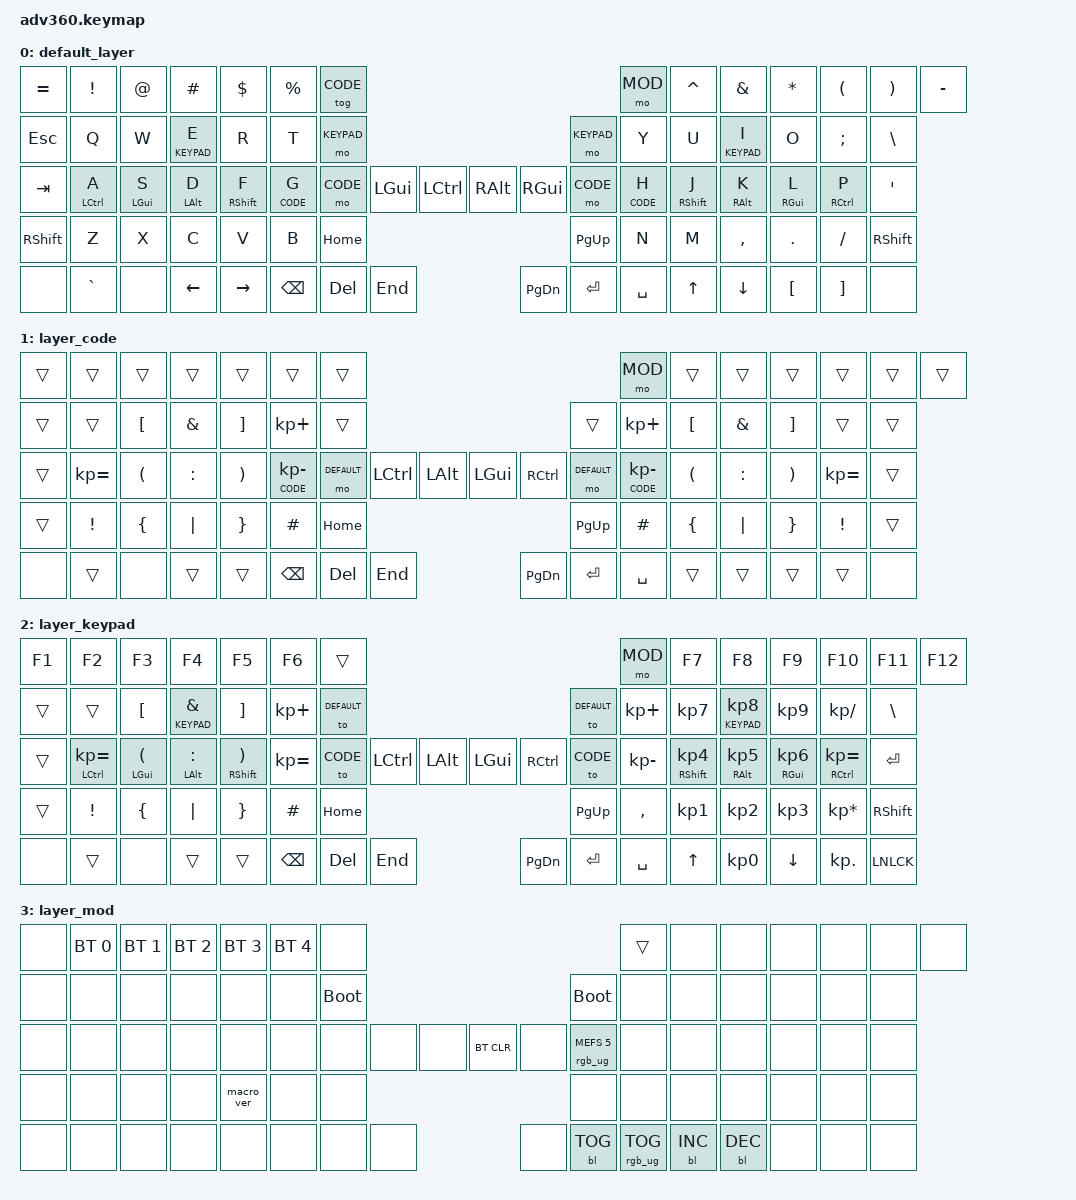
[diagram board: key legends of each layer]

/*
 * Copyright (c) 2020 The ZMK Contributors
 *
 * SPDX-License-Identifier: MIT
 */


/* THIS FILE WAS GENERATED!
 *
 * This file was generated automatically. You may or may not want to
 * edit it directly.
 */

#include <behaviors.dtsi>
#include <dt-bindings/zmk/keys.h>
#include <dt-bindings/zmk/bt.h>
#include <dt-bindings/zmk/rgb.h>
#include <dt-bindings/zmk/backlight.h>

    
#define DEFAULT 0
#define CODE 1
#define KEYPAD 2
#define MOD 3
        
/ {
    behaviors {
        #include "macros.dtsi"
        #include "version.dtsi"

        hm_l: homerow_left_mods {
          compatible = "zmk,behavior-hold-tap";
          label = "HOMEROW_MODS";
          #binding-cells = <2>;
          tapping-term-ms = <200>;
          flavor = "tap-preferred";
          bindings = <&kp>, <&kp>;
        };

        hm_r: homerow_right_mods {
          compatible = "zmk,behavior-hold-tap";
          label = "HOMEROW_MODS";
          #binding-cells = <2>;
          tapping-term-ms = <200>;
          flavor = "tap-preferred";
          bindings = <&kp>, <&kp>;
        };

        lt_kp: layer_kp {
          compatible = "zmk,behavior-hold-tap";
          label = "LAYERTAP";
          #binding-cells = <2>;
          tapping-term-ms = <200>;
          flavor = "tap-preferred";
          bindings = <&tog>, <&kp>;
        };

        lt_tog: layer_tog {
          compatible = "zmk,behavior-hold-tap";
          label = "LAYERTAP-tog";
          #binding-cells = <2>;
          tapping-term-ms = <250>;
          flavor = "tap-preferred";
          bindings = <&tog>, <&tog>;
        };
    };


    // Home row mods
    #define _A_CTL &hm_l LCTRL A  // Shift on pinkey fingers
    #define _P_CTL &hm_r RCTRL  P
    #define _S_CMD &hm_l LGUI S   // Command on ring fingers
    #define _L_CMD &hm_r RGUI L
    #define _D_OPT &hm_l LALT D   // Option on middle finger
    #define _K_OPT &hm_r RALT K
    #define _F_SFT &hm_l RSHFT F  // Control on index finger
    #define _J_SFT &hm_r RSHFT J

    #define _LBKT_CTL &hm_l LCTRL LBKT  // Shift on pinkey fingers
    #define _RIGHT_CTL &hm_r RCTRL RIGHT
    #define _RBKT_CMD &hm_l LGUI RBKT   // Command on ring fingers
    #define _DOWN_CMD &hm_r RGUI DOWN
    #define _LBRC_OPT &hm_l LALT LBRC   // Option on middle finger
    #define _UP_OPT &hm_r RALT UP
    #define _RBRC_SFT &hm_l LSHFT RBRC  // Control on index finger
    #define _LEFT_SFT &hm_r RSHFT LEFT

    // Keypad layer home row mods
    #define _KPEQ_CTL_L &hm_l LCTRL KP_EQUAL
    #define _LPAR_CMD &hm_l LGUI LPAR
    #define _COLON_OPT &hm_l LALT COLON
    #define _RPAR_SFT &hm_l RSHFT RPAR
    #define _KPN4_SFT &hm_r RSHFT KP_N4
    #define _KPN5_OPT &hm_r RALT KP_N5
    #define _KPN6_CMD &hm_r RGUI KP_N6
    #define _KPEQ_CTL_R &hm_r RCTRL KP_EQUAL

    #define _G_LAYER_1 &lt_kp CODE G
    #define _H_LAYER_1 &lt_kp CODE H

    #define _E_LAYER_2 &lt_kp KEYPAD E
    #define _I_LAYER_2 &lt_kp KEYPAD I

    #define _N8_LAYER_0 &lt_kp KEYPAD KP_N8
    #define _AMPS_LAYER_0 &lt_kp KEYPAD AMPS

    #define _KP_LAYER_0 &lt_kp CODE KP_MINUS

    #define _KEYPAD &tog KEYPAD
    #define _DEFAULT &tog DEFAULT

    keymap {
        compatible = "zmk,keymap";


        default_layer {
            bindings = <
 &kp EQUAL  &kp EXCL  &kp AT_SIGN  &kp POUND  &kp DLLR  &kp PERCENT     &tog CODE                                                                 &mo MOD  &kp CARET  &kp AMPS &kp STAR &kp LPAR    &kp RPAR  &kp MINUS
   &kp ESC   &kp Q     &kp W     _E_LAYER_2   &kp R   &kp T           &mo KEYPAD                                                                 &mo KEYPAD  &kp Y   &kp U   _I_LAYER_2  &kp O  &kp SEMI   &kp BSLH
   &kp TAB   _A_CTL    _S_CMD  _D_OPT  _F_SFT   _G_LAYER_1        &mo CODE       &kp LGUI   &kp LCTRL                   &kp RALT   &kp RGUI      &mo CODE   _H_LAYER_1   _J_SFT      _K_OPT     _L_CMD     _P_CTL    &kp SQT
 &kp RSHFT      &kp Z     &kp X     &kp C      &kp V   &kp B                                 &kp HOME                   &kp PG_UP                         &kp N   &kp M  &kp COMMA   &kp DOT  &kp FSLH  &kp RSHFT
     &none  &kp GRAVE  &none  &kp LEFT  &kp RIGHT                    &kp BSPC   &kp DEL  &kp END                 &kp PG_DN  &kp ENTER  &kp SPACE          &kp UP   &kp DOWN  &kp LBKT  &kp RBKT      &none
            >;
        };

        layer_code {
            bindings = <
    &trans   &trans   &trans   &trans    &trans    &trans                &trans                                                               &mo MOD   &trans         &trans     &trans      &trans     &trans         &trans 
   &trans   &trans  &kp LBKT  &kp AMPS   &kp RBKT   &kp KP_PLUS          &trans                                                               &trans     &kp KP_PLUS    &kp LBKT   &kp AMPS    &kp RBKT   &trans         &trans 
   &trans   &kp KP_EQUAL   &kp LPAR   &kp COLON  &kp RPAR  _KP_LAYER_0   &mo DEFAULT       &kp LCTRL   &kp LALT    &kp LGUI   &kp RCTRL        &mo DEFAULT  _KP_LAYER_0   &kp LPAR   &kp COLON   &kp RPAR   &kp KP_EQUAL   &trans
    &trans   &kp EXCL   &kp LBRC   &kp PIPE    &kp RBRC    &kp POUND                             &kp HOME          &kp PG_UP                               &kp POUND      &kp LBRC   &kp PIPE    &kp RBRC   &kp EXCL       &trans
     &none  &trans   &none    &trans    &trans                            &kp BSPC    &kp DEL   &kp END             &kp PG_DN  &kp ENTER  &kp SPACE                   &trans     &trans      &trans     &trans         &none
            >;
        };

        layer_keypad {
            bindings = <
   &kp F1       &kp F2    &kp F3    &kp F4     &kp F5  &kp F6             &trans                                                                &mo MOD &kp F7        &kp F8        &kp F9         &kp F10       &kp F11         &kp F12
   &trans      &trans    &kp LBKT _AMPS_LAYER_0 &kp RBKT   &kp KP_PLUS    &to DEFAULT                                                              &to DEFAULT   &kp KP_PLUS   &kp KP_N7     _N8_LAYER_0      &kp KP_N9     &kp KP_DIVIDE   &kp BSLH
   &trans      _KPEQ_CTL_L  _LPAR_CMD   _COLON_OPT  _RPAR_SFT  &kp KP_EQUAL &to CODE   &kp LCTRL  &kp LALT                  &kp LGUI  &kp RCTRL      &to CODE   &kp KP_MINUS  _KPN4_SFT     _KPN5_OPT      _KPN6_CMD     _KPEQ_CTL_R    &kp ENTER
   &trans      &kp EXCL   &kp LBRC   &kp PIPE    &kp RBRC    &kp POUND               &kp HOME                             &kp PG_UP                          &kp COMMA     &kp KP_N1     &kp KP_N2      &kp KP_N3     &kp KP_MULTIPLY &kp RSHFT
   &none       &trans  &none  &trans  &trans                    &kp BSPC    &kp DEL   &kp END                             &kp PG_DN  &kp ENTER  &kp SPACE         &kp UP    &kp KP_N0      &kp DOWN     &kp KP_DOT         &kp LNLCK
            >;
        };

        layer_mod {
            bindings = <
  &none  &bt BT_SEL 0  &bt BT_SEL 1  &bt BT_SEL 2  &bt BT_SEL 3  &bt BT_SEL 4                  &none                                                                          &trans   &none       &none       &none   &none   &none   &none
  &none         &none         &none         &none         &none         &none            &bootloader                                                                     &bootloader   &none       &none       &none   &none   &none   &none
  &none         &none         &none         &none         &none         &none                  &none   &none   &none                  &bt BT_CLR       &none  &rgb_ug RGB_MEFS_CMD 5   &none       &none       &none   &none   &none   &none
  &none         &none         &none         &none    &macro_ver         &none                                  &none                       &none                                       &none       &none       &none   &none   &none   &none
  &none         &none         &none         &none         &none                                &none   &none   &none                       &none  &bl BL_TOG         &rgb_ug RGB_TOG          &bl BL_INC  &bl BL_DEC   &none   &none   &none
            >;
        };

    };
};
